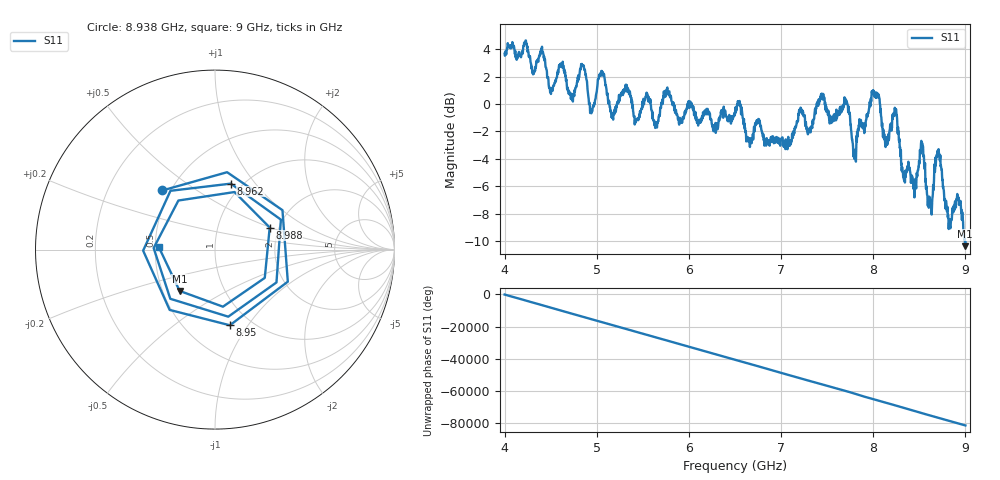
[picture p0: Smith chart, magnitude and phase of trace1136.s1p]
! Created with skrf 1.8.0 (http://scikit-rf.org).
# Hz S RI R 50.0
!freq ReS11 ImS11
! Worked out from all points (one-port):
!   1601 points, 4 GHz to 9 GHz, reference 50 ohm
!   lowest |S11| = -10.4 dB at 8.997 GHz (marker M1), VSWR 1.87, Z = 30.6 - j15.5 ohm
!   |S11| at or under -10 dB: 8.99479 GHz to end of sweep
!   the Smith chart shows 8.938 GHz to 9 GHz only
!   S11 on the Smith chart (normalised r, x): 8.938 GHz: 0.45, +0.37; 8.95 GHz: 0.80, -0.83; 8.962 GHz: 0.89, +0.76; 8.988 GHz: 1.79, +0.49; 9 GHz: 0.52, +0.02
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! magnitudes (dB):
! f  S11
! 4 GHz  3.7
! 4.406 GHz  4.2
! 4.506 GHz  1.0
! 4.625 GHz  2.9
! 4.731 GHz  0.5
! 4.853 GHz  2.8
! 4.941 GHz  -0.7
! 5.05 GHz  2.4
! 5.166 GHz  -1.0
! 5.25 GHz  0.5
! 5.875 GHz  -0.8
! 6.5 GHz  -0.7
! 7.125 GHz  -2.1
! 7.444 GHz  0.5
! 7.75 GHz  -1.2
! 7.797 GHz  -3.3
! 8.044 GHz  0.8
! 8.375 GHz  -4.7
! 8.531 GHz  -2.9
! 8.616 GHz  -7.3
! 8.706 GHz  -3.5
! 8.822 GHz  -8.7
! 8.938 GHz  -7.1
! 8.95 GHz  -7.3
! 8.962 GHz  -8.4
! 8.988 GHz  -9.7
! 8.997 GHz  -10.4
! 9 GHz  -10.1
